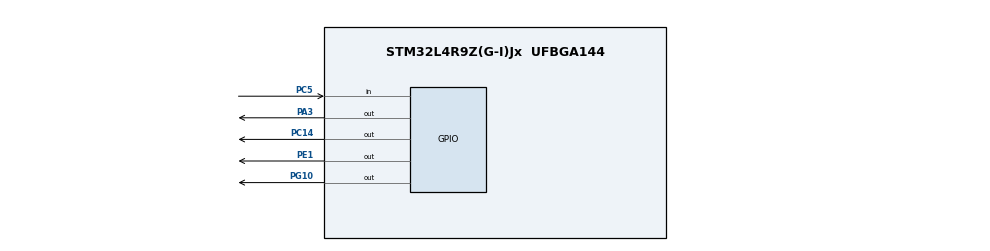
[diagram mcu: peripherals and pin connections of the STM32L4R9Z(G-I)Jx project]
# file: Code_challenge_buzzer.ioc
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Mcu.Family=STM32L4
Mcu.Name=STM32L4R9Z(G-I)Jx
Mcu.Package=UFBGA144
NVIC.PriorityGroup=NVIC_PRIORITYGROUP_4
PA3.Signal=GPIO_Output
PC14-OSC32_IN\ (PC14).Signal=GPIO_Output
PC5.GPIO_PuPd=GPIO_PULLUP
PC5.Signal=GPIO_Input
PE1.Signal=GPIO_Output
PG10.Signal=GPIO_Output
ProjectManager.HeapSize=0x200
ProjectManager.StackSize=0x400
ProjectManager.TargetToolchain=STM32CubeIDE
RCC.HSE_VALUE=8000000
RCC.HSI48_VALUE=48000000
RCC.HSI_VALUE=16000000
RCC.LSE_VALUE=32768
RCC.MSI_VALUE=4000000
RCC.VCOOutputFreq_Value=32000000
TIM1.Period=0
TIM1.Prescaler=4-1
TIM2.Prescaler=4000-1
VP_TIM1_VS_ClockSourceINT.Mode=Internal
VP_TIM2_VS_ClockSourceINT.Mode=Internal
VP_TIM2_VS_ClockSourceITR.Mode=TriggerSource_ITR1
board=custom

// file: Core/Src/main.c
/* USER CODE BEGIN Header */
/**
  ******************************************************************************
  * @file           : main.c
  * @brief          : Main program body
  ******************************************************************************
  * @attention
  *
  * Copyright (c) 2023 STMicroelectronics.
  * All rights reserved.
  *
  * This software is licensed under terms that can be found in the LICENSE file
  * in the root directory of this software component.
  * If no LICENSE file comes with this software, it is provided AS-IS.
  *
  ******************************************************************************
  */
/* USER CODE END Header */
#include "main.h"

/* USER CODE BEGIN PD */

#define C6 1046.50
#define D6 1174.66
#define E6 1318.51

/* USER CODE END PD */

TIM_HandleTypeDef htim1;
TIM_HandleTypeDef htim2;

void SystemClock_Config(void);
static void MX_GPIO_Init(void);
static void MX_TIM1_Init(void);
static void MX_TIM2_Init(void);

/* USER CODE BEGIN 0 */

void delay_us(uint16_t us){
  // a functions that blocks until the timer 1 reaches the time given in us
	__HAL_TIM_SET_COUNTER(&htim1,0);
	while (__HAL_TIM_GET_COUNTER(&htim1) < (us));
}

void set_buzzer_state(uint8_t active) {
  // as far as i understood the schematics correct PA3 should be turned off all the time
  // the buzzer will in this case just use one direction of current flow
  // i assume that the polarity of the buzzer is irrelevant
  GPIOG->BSRR = GPIO_BSRR_BR10;
  // since i want to controll the buzzer just with the pwm the BUZZ_LOGIC_OUT should be low
  GPIOE->BSRR = GPIO_BSRR_BS1;
  if (active) {
    //pin high -> active
    GPIOC->BSRR = GPIO_BSRR_BS14;
  } else {
    // pin low -> inactive
    GPIOC->BSRR = GPIO_BSRR_BR14;
  }
}

void play_frequency(float frequency, uint16_t duration_ms){
  // play the given frequency for the given amount of milliseconds
  // timing for one half of the period in us
	float period_us_float = 1000000.0 / (2.0 * frequency);
	uint16_t period_us = (uint16_t)period_us_float;

  // reset timer 2
	__HAL_TIM_SET_COUNTER(&htim2,0);
  // run "pwm" until timer reaches duration in milliseconds
  while (__HAL_TIM_GET_COUNTER(&htim2) < (duration_ms)){
    // high
    GPIOA->BSRR = GPIO_BSRR_BS3;
    delay_us(period_us);
    // low
    GPIOA->BSRR = GPIO_BSRR_BR3;
    delay_us(period_us);
  }
}

void play_test_tone() {
  // play the testing frequency for 1000ms
  play_frequency(880.00, 1000);
}

/* USER CODE END 0 */

int main(void)
{

  /* MCU Configuration--------------------------------------------------------*/

  /* Reset of all peripherals, Initializes the Flash interface and the Systick. */
  HAL_Init();

  /* Configure the system clock */
  SystemClock_Config();

  /* Initialize all configured peripherals */
  MX_GPIO_Init();
  MX_TIM1_Init();
  MX_TIM2_Init();
  /* USER CODE BEGIN 2 */
  set_buzzer_state(1);
  play_test_tone();
  /* USER CODE END 2 */

  /* Infinite loop */
  while (1)
  {
    if ((GPIOC->IDR & GPIO_IDR_ID5) == 0) {
      play_frequency(C6, 500);
      play_frequency(D6, 500);
      play_frequency(E6, 500);
    }
  }
}

void SystemClock_Config(void)
{
  RCC_OscInitTypeDef RCC_OscInitStruct = {0};
  RCC_ClkInitTypeDef RCC_ClkInitStruct = {0};

  /** Configure the main internal regulator output voltage
  */
  if (HAL_PWREx_ControlVoltageScaling(PWR_REGULATOR_VOLTAGE_SCALE1) != HAL_OK)
  {
    Error_Handler();
  }

  /** Initializes the RCC Oscillators according to the specified parameters
  * in the RCC_OscInitTypeDef structure.
  */
  RCC_OscInitStruct.OscillatorType = RCC_OSCILLATORTYPE_MSI;
  RCC_OscInitStruct.MSIState = RCC_MSI_ON;
  RCC_OscInitStruct.MSICalibrationValue = 0;
  RCC_OscInitStruct.MSIClockRange = RCC_MSIRANGE_6;
  RCC_OscInitStruct.PLL.PLLState = RCC_PLL_NONE;
  if (HAL_RCC_OscConfig(&RCC_OscInitStruct) != HAL_OK)
  {
    Error_Handler();
  }

  /** Initializes the CPU, AHB and APB buses clocks
  */
  RCC_ClkInitStruct.ClockType = RCC_CLOCKTYPE_HCLK|RCC_CLOCKTYPE_SYSCLK
                              |RCC_CLOCKTYPE_PCLK1|RCC_CLOCKTYPE_PCLK2;
  RCC_ClkInitStruct.SYSCLKSource = RCC_SYSCLKSOURCE_MSI;
  RCC_ClkInitStruct.AHBCLKDivider = RCC_SYSCLK_DIV1;
  RCC_ClkInitStruct.APB1CLKDivider = RCC_HCLK_DIV1;
  RCC_ClkInitStruct.APB2CLKDivider = RCC_HCLK_DIV1;

  if (HAL_RCC_ClockConfig(&RCC_ClkInitStruct, FLASH_LATENCY_0) != HAL_OK)
  {
    Error_Handler();
  }
}

static void MX_TIM1_Init(void)
{

  TIM_ClockConfigTypeDef sClockSourceConfig = {0};
  TIM_SlaveConfigTypeDef sSlaveConfig = {0};
  TIM_MasterConfigTypeDef sMasterConfig = {0};
  TIM_OC_InitTypeDef sConfigOC = {0};
  TIM_BreakDeadTimeConfigTypeDef sBreakDeadTimeConfig = {0};

  htim1.Instance = TIM1;
  htim1.Init.Prescaler = 400-1;
  htim1.Init.CounterMode = TIM_COUNTERMODE_UP;
  htim1.Init.Period = 65535;
  htim1.Init.ClockDivision = TIM_CLOCKDIVISION_DIV1;
  htim1.Init.RepetitionCounter = 0;
  htim1.Init.AutoReloadPreload = TIM_AUTORELOAD_PRELOAD_DISABLE;
  if (HAL_TIM_Base_Init(&htim1) != HAL_OK)
  {
    Error_Handler();
  }
  sClockSourceConfig.ClockSource = TIM_CLOCKSOURCE_INTERNAL;
  if (HAL_TIM_ConfigClockSource(&htim1, &sClockSourceConfig) != HAL_OK)
  {
    Error_Handler();
  }
  if (HAL_TIM_PWM_Init(&htim1) != HAL_OK)
  {
    Error_Handler();
  }
  sSlaveConfig.SlaveMode = TIM_SLAVEMODE_DISABLE;
  sSlaveConfig.InputTrigger = TIM_TS_ITR0;
  if (HAL_TIM_SlaveConfigSynchro(&htim1, &sSlaveConfig) != HAL_OK)
  {
    Error_Handler();
  }
  sMasterConfig.MasterOutputTrigger = TIM_TRGO_RESET;
  sMasterConfig.MasterOutputTrigger2 = TIM_TRGO2_RESET;
  sMasterConfig.MasterSlaveMode = TIM_MASTERSLAVEMODE_DISABLE;
  if (HAL_TIMEx_MasterConfigSynchronization(&htim1, &sMasterConfig) != HAL_OK)
  {
    Error_Handler();
  }
  sConfigOC.OCMode = TIM_OCMODE_PWM1;
  sConfigOC.Pulse = 0;
  sConfigOC.OCPolarity = TIM_OCPOLARITY_HIGH;
  sConfigOC.OCNPolarity = TIM_OCNPOLARITY_HIGH;
  sConfigOC.OCFastMode = TIM_OCFAST_DISABLE;
  sConfigOC.OCIdleState = TIM_OCIDLESTATE_RESET;
  sConfigOC.OCNIdleState = TIM_OCNIDLESTATE_RESET;
  if (HAL_TIM_PWM_ConfigChannel(&htim1, &sConfigOC, TIM_CHANNEL_1) != HAL_OK)
  {
    Error_Handler();
  }
  sBreakDeadTimeConfig.OffStateRunMode = TIM_OSSR_DISABLE;
  sBreakDeadTimeConfig.OffStateIDLEMode = TIM_OSSI_DISABLE;
  sBreakDeadTimeConfig.LockLevel = TIM_LOCKLEVEL_OFF;
  sBreakDeadTimeConfig.DeadTime = 0;
  sBreakDeadTimeConfig.BreakState = TIM_BREAK_DISABLE;
  sBreakDeadTimeConfig.BreakPolarity = TIM_BREAKPOLARITY_HIGH;
  sBreakDeadTimeConfig.BreakFilter = 0;
  sBreakDeadTimeConfig.Break2State = TIM_BREAK2_DISABLE;
  sBreakDeadTimeConfig.Break2Polarity = TIM_BREAK2POLARITY_HIGH;
  sBreakDeadTimeConfig.Break2Filter = 0;
  sBreakDeadTimeConfig.AutomaticOutput = TIM_AUTOMATICOUTPUT_DISABLE;
  if (HAL_TIMEx_ConfigBreakDeadTime(&htim1, &sBreakDeadTimeConfig) != HAL_OK)
  {
    Error_Handler();
  }
  HAL_TIM_MspPostInit(&htim1);

}

static void MX_TIM2_Init(void)
{

  TIM_ClockConfigTypeDef sClockSourceConfig = {0};
  TIM_SlaveConfigTypeDef sSlaveConfig = {0};
  TIM_MasterConfigTypeDef sMasterConfig = {0};

  htim2.Instance = TIM2;
  htim2.Init.Prescaler = 4000-1;
  htim2.Init.CounterMode = TIM_COUNTERMODE_UP;
  htim2.Init.Period = 4294967295;
  htim2.Init.ClockDivision = TIM_CLOCKDIVISION_DIV1;
  htim2.Init.AutoReloadPreload = TIM_AUTORELOAD_PRELOAD_DISABLE;
  if (HAL_TIM_Base_Init(&htim2) != HAL_OK)
  {
    Error_Handler();
  }
  sClockSourceConfig.ClockSource = TIM_CLOCKSOURCE_INTERNAL;
  if (HAL_TIM_ConfigClockSource(&htim2, &sClockSourceConfig) != HAL_OK)
  {
    Error_Handler();
  }
  sSlaveConfig.SlaveMode = TIM_SLAVEMODE_DISABLE;
  sSlaveConfig.InputTrigger = TIM_TS_ITR1;
  if (HAL_TIM_SlaveConfigSynchro(&htim2, &sSlaveConfig) != HAL_OK)
  {
    Error_Handler();
  }
  sMasterConfig.MasterOutputTrigger = TIM_TRGO_RESET;
  sMasterConfig.MasterSlaveMode = TIM_MASTERSLAVEMODE_DISABLE;
  if (HAL_TIMEx_MasterConfigSynchronization(&htim2, &sMasterConfig) != HAL_OK)
  {
    Error_Handler();
  }
  if (HAL_TIMEx_RemapConfig(&htim2, TIM_TIM2_TI4_GPIO) != HAL_OK)
  {
    Error_Handler();
  }

}

static void MX_GPIO_Init(void)
{
  GPIO_InitTypeDef GPIO_InitStruct = {0};

  /* GPIO Ports Clock Enable */
  __HAL_RCC_GPIOE_CLK_ENABLE();
  __HAL_RCC_GPIOC_CLK_ENABLE();
  __HAL_RCC_GPIOA_CLK_ENABLE();
  __HAL_RCC_GPIOG_CLK_ENABLE();
  HAL_PWREx_EnableVddIO2();

  /*Configure GPIO pin Output Level */
  HAL_GPIO_WritePin(GPIOE, GPIO_PIN_1, GPIO_PIN_RESET);

  /*Configure GPIO pin Output Level */
  HAL_GPIO_WritePin(GPIOC, GPIO_PIN_14, GPIO_PIN_RESET);

  /*Configure GPIO pin Output Level */
  HAL_GPIO_WritePin(GPIOG, GPIO_PIN_10, GPIO_PIN_RESET);

  /*Configure GPIO pin Output Level */
  HAL_GPIO_WritePin(GPIOA, GPIO_PIN_3, GPIO_PIN_RESET);

  /*Configure GPIO pin : PE1 */
  GPIO_InitStruct.Pin = GPIO_PIN_1;
  GPIO_InitStruct.Mode = GPIO_MODE_OUTPUT_PP;
  GPIO_InitStruct.Pull = GPIO_NOPULL;
  GPIO_InitStruct.Speed = GPIO_SPEED_FREQ_LOW;
  HAL_GPIO_Init(GPIOE, &GPIO_InitStruct);

  /*Configure GPIO pin : PC14 */
  GPIO_InitStruct.Pin = GPIO_PIN_14;
  GPIO_InitStruct.Mode = GPIO_MODE_OUTPUT_PP;
  GPIO_InitStruct.Pull = GPIO_NOPULL;
  GPIO_InitStruct.Speed = GPIO_SPEED_FREQ_LOW;
  HAL_GPIO_Init(GPIOC, &GPIO_InitStruct);

  /*Configure GPIO pin : PG10 */
  GPIO_InitStruct.Pin = GPIO_PIN_10;
  GPIO_InitStruct.Mode = GPIO_MODE_OUTPUT_PP;
  GPIO_InitStruct.Pull = GPIO_NOPULL;
  GPIO_InitStruct.Speed = GPIO_SPEED_FREQ_LOW;
  HAL_GPIO_Init(GPIOG, &GPIO_InitStruct);

  /*Configure GPIO pin : PC5 */
  GPIO_InitStruct.Pin = GPIO_PIN_5;
  GPIO_InitStruct.Mode = GPIO_MODE_INPUT;
  GPIO_InitStruct.Pull = GPIO_PULLUP;
  HAL_GPIO_Init(GPIOC, &GPIO_InitStruct);

  /*Configure GPIO pin : PA3 */
  GPIO_InitStruct.Pin = GPIO_PIN_3;
  GPIO_InitStruct.Mode = GPIO_MODE_OUTPUT_PP;
  GPIO_InitStruct.Pull = GPIO_NOPULL;
  GPIO_InitStruct.Speed = GPIO_SPEED_FREQ_LOW;
  HAL_GPIO_Init(GPIOA, &GPIO_InitStruct);

}

void Error_Handler(void)
{
  __disable_irq();
  while (1)
  {
  }
}
